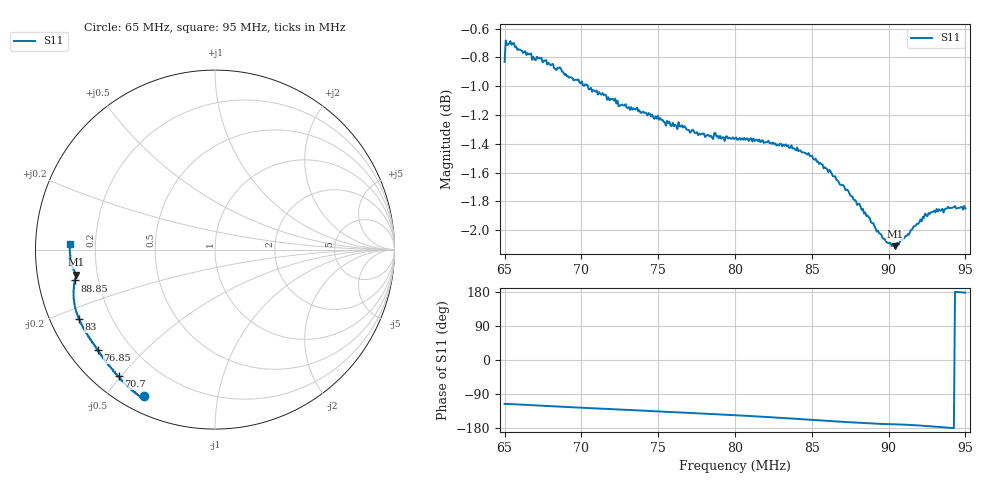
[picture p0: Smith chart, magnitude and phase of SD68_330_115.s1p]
! NanoVNA-App
! Date: 2025-08-09 13:17:48
! Start: 65MHz Stop: 95MHz Points: 401
! S-Parameter data: F S11
# Hz S RI R 50
!  Frequency  S11_Real  S11_Imag
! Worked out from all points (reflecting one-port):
!   401 points, 65 MHz to 95 MHz, reference 50 ohm
!   lowest |S11| = -2.1 dB at 90.42 MHz (marker M1), VSWR 8.27, Z = 6.09 - j4.41 ohm
!   phase of S11 starts at -116 deg and turns -66 deg over the sweep
!   S11 on the Smith chart (normalised r, x): 65 MHz: 0.07, -0.62; 70.7 MHz: 0.07, -0.49; 76.85 MHz: 0.08, -0.37; 83 MHz: 0.09, -0.24; 88.85 MHz: 0.11, -0.11; 95 MHz: 0.11, +0.02
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6.5e7  -0.3979 -0.8171
6.5225e7  -0.407 -0.8266
6.5525e7  -0.4129 -0.8247
6.6575e7  -0.4429 -0.7998
6.725e7  -0.458 -0.7885
6.875e7  -0.494 -0.7543
6.965e7  -0.5172 -0.7315
7.07e7  -0.5371 -0.7063
7.25e7  -0.5737 -0.664
7.3625e7  -0.5959 -0.6424
7.625e7  -0.6424 -0.5737
7.685e7  -0.6526 -0.5614
7.88e7  -0.6848 -0.5136
8e7  -0.7047 -0.4837
8.12e7  -0.7278 -0.4484
8.3e7  -0.7574 -0.3883
8.375e7  -0.7661 -0.3638
8.4875e7  -0.7792 -0.3214
8.585e7  -0.786 -0.2827
8.75e7  -0.7868 -0.2199
8.885e7  -0.7807 -0.172
8.9825e7  -0.7734 -0.1481
9.0425e7  -0.7718 -0.1394
9.125e7  -0.7822 -0.1228
9.2e7  -0.7931 -0.1001
9.2975e7  -0.8047 -0.0585
9.4175e7  -0.8088 -0.00613
9.5e7  -0.8076 0.0319
